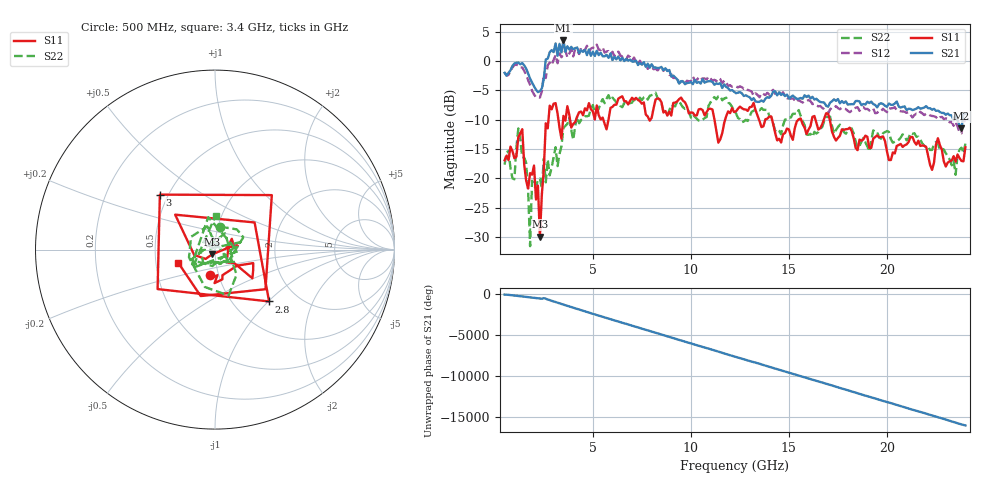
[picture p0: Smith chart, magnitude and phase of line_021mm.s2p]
!Created with skrf (http://scikit-rf.org).
# GHz S RI R 50.0
!freq ReS11 ImS11 ReS21 ImS21 ReS12 ImS12 ReS22 ImS22
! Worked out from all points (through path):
!   236 points, 500 MHz to 24 GHz, reference 50 ohm
!   highest |S21| = 3.52 dB at 3.5 GHz (marker M1); lowest = -11.5 dB at 23.8 GHz (marker M2)
!   lowest |S11| = -29.9 dB at 2.3 GHz (marker M3), VSWR 1.07, Z = 48.3 - j2.62 ohm
!   |S11| at or under -10 dB: start of sweep to 2.738 GHz; 14.14 GHz to 15.48 GHz (1.337 GHz wide, 9.02 % of centre); 17.08 GHz to end of sweep (the widest 3 of 12)
!   |S22| runs from -31.5 to -5.4 dB; largest |S21 - S12| = 2.5
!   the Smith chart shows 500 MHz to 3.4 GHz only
!   S11 on the Smith chart (normalised r, x): 500 MHz: 0.91, -0.26; 2.8 GHz: 1.44, -1.01; 3 GHz: 0.45, +0.34; 3.4 GHz: 0.65, -0.10
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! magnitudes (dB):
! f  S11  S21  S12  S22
! 500 MHz  -16.9  -2.0  -1.9  -17.6
! 1 GHz  -16.6  -0.4  -0.7  -20.1
! 1.2 GHz  -12.9  -0.2  -0.7  -11.5
! 1.4 GHz  -11.6  -0.3  -1.1  -16.4
! 1.6 GHz  -20.4  -1.3  -2.3  -17.4
! 1.8 GHz  -19.1  -3.0  -4.0  -31.5
! 1.9 GHz  -19.4  -3.6  -5.0  -20.4
! 2.2 GHz  -21.2  -5.3  -6.1  -20.2
! 2.3 GHz  -29.9  -5.1  -6.2  -20.0
! 2.6 GHz  -10.6  0.3  -2.9  -20.7
! 2.8 GHz  -7.6  1.5  -0.3  -19.5
! 3 GHz  -7.3  1.5  0.2  -16.4
! 3.4 GHz  -13.2  1.5  0.7  -14.5
! 3.5 GHz  -9.3  3.5  1.3  -11.4
! 4.5 GHz  -9.2  1.6  1.8  -9.7
! 8.4 GHz  -6.5  -1.2  -1.3  -6.6
! 11.4 GHz  -13.9  -3.9  -2.9  -6.0
! 12.3 GHz  -8.6  -5.5  -4.3  -8.9
! 16.2 GHz  -9.5  -6.1  -7.3  -12.9
! 20.1 GHz  -16.9  -7.2  -8.0  -12.1
! 23.8 GHz  -17.0  -11.5  -12.3  -14.8
! 24 GHz  -14.7  -9.0  -10.2  -14.1
